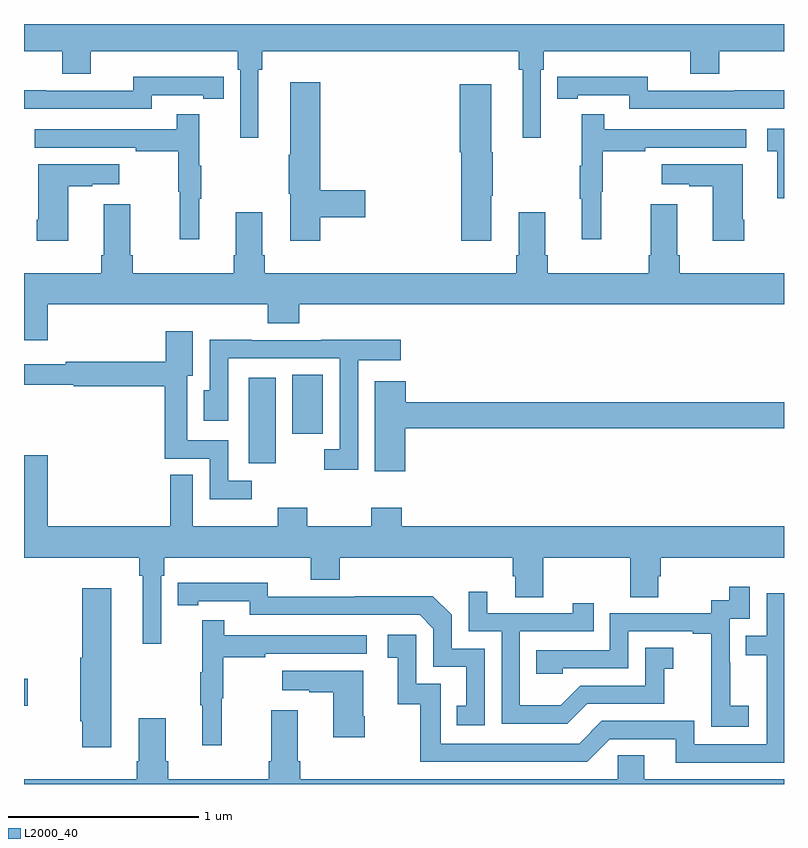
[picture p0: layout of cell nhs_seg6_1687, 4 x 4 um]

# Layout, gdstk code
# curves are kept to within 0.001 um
import gdstk
lib = gdstk.Library(unit=1e-6, precision=1e-09)
def R(c, l, rs):  # rectangles x0, y0, x1, y1
    for r in rs: c.add(gdstk.rectangle(r[:2], r[2:], *l))
def P(c, l, *ps):  # polygons
    for p in ps: c.add(gdstk.Polygon(p, *l))
L2000_40 = (2000, 40)

nhs_seg6_1687 = lib.new_cell('nhs_seg6_1687')
R(nhs_seg6_1687, L2000_40, [(213,923.911,213.019,924.053), (214.184,925.188,214.324,925.639), (214.412,925.344,214.573,925.655)])
P(nhs_seg6_1687, L2000_40, [(214.234,927.26),(214.253,927.26),(214.253,927.356),(215.605,927.356),(215.605,927.26),(215.624,927.26),(215.624,926.901),(215.721,926.901),(215.721,927.26),(215.735,927.26),(215.735,927.356),(216.506,927.356),(216.506,927.239),(216.659,927.239),(216.659,927.356),(217,927.356),(217,927.5),(213,927.5),(213,927.356),(213.2,927.356),(213.2,927.239),(213.352,927.239),(213.352,927.356),(214.124,927.356),(214.124,927.26),(214.137,927.26),(214.137,926.901),(214.234,926.901)],
  [(217,927.152),(216.742,927.152),(216.742,927.15),(216.282,927.15),(216.282,927.223),(215.914,927.223),(215.914,927.222),(215.806,927.222),(215.806,927.106),(215.914,927.106),(215.914,927.126),(216.186,927.126),(216.186,927.054),(217,927.054)],
  [(213.672,927.126),(213.944,927.126),(213.944,927.106),(214.052,927.106),(214.052,927.222),(213.944,927.222),(213.944,927.223),(213.576,927.223),(213.576,927.15),(213.116,927.15),(213.116,927.152),(213,927.152),(213,927.054),(213.672,927.054)],
  [(214.559,926.482),(214.795,926.482),(214.795,926.624),(214.559,926.624),(214.559,927.193),(214.4,927.193),(214.4,926.813),(214.393,926.813),(214.393,926.607),(214.4,926.607),(214.4,926.358),(214.559,926.358)],
  [(215.458,926.596),(215.466,926.596),(215.466,926.826),(215.458,926.826),(215.458,927.184),(215.294,927.184),(215.294,926.826),(215.3,926.826),(215.3,926.358),(215.458,926.358)],
  [(213.923,926.579),(213.934,926.579),(213.934,926.753),(213.923,926.753),(213.923,927.025),(213.805,927.025),(213.805,926.946),(213.057,926.946),(213.057,926.85),(213.589,926.85),(213.589,926.83),(213.813,926.83),(213.813,926.616),(213.82,926.616),(213.82,926.367),(213.923,926.367)],
  [(216.038,926.616),(216.046,926.616),(216.046,926.83),(216.269,926.83),(216.269,926.85),(216.802,926.85),(216.802,926.946),(216.053,926.946),(216.053,927.025),(215.936,927.025),(215.936,926.753),(215.925,926.753),(215.925,926.579),(215.936,926.579),(215.936,926.367),(216.038,926.367)],
  [(217,926.95),(216.912,926.95),(216.912,926.829),(216.965,926.829),(216.965,926.583),(217,926.583)],
  [(213.232,926.647),(213.359,926.647),(213.359,926.657),(213.502,926.657),(213.502,926.761),(213.074,926.761),(213.074,926.47),(213.067,926.47),(213.067,926.358),(213.232,926.358)],
  [(216.792,926.47),(216.784,926.47),(216.784,926.761),(216.357,926.761),(216.357,926.657),(216.5,926.657),(216.5,926.647),(216.626,926.647),(216.626,926.358),(216.792,926.358)],
  [(214.283,925.925),(214.448,925.925),(214.448,926.024),(217,926.024),(217,926.188),(216.452,926.188),(216.452,926.284),(216.439,926.284),(216.439,926.551),(216.299,926.551),(216.299,926.284),(216.287,926.284),(216.287,926.188),(215.756,926.188),(215.756,926.284),(215.743,926.284),(215.743,926.509),(215.603,926.509),(215.603,926.284),(215.591,926.284),(215.591,926.188),(214.268,926.188),(214.268,926.284),(214.255,926.284),(214.255,926.509),(214.115,926.509),(214.115,926.284),(214.103,926.284),(214.103,926.188),(213.572,926.188),(213.572,926.284),(213.559,926.284),(213.559,926.551),(213.419,926.551),(213.419,926.284),(213.407,926.284),(213.407,926.188),(213,926.188),(213,925.836),(213.124,925.836),(213.124,926.024),(214.283,926.024)],
  [(214.198,925.095),(214.074,925.095),(214.074,925.308),(213.859,925.308),(213.859,925.649),(213.889,925.649),(213.889,925.882),(213.746,925.882),(213.746,925.723),(213.22,925.723),(213.22,925.71),(213,925.71),(213,925.602),(213.262,925.602),(213.262,925.594),(213.741,925.594),(213.741,925.212),(213.978,925.212),(213.978,924.998),(214.198,924.998)],
  [(214.758,925.73),(214.984,925.73),(214.984,925.838),(214.565,925.838),(214.565,925.836),(214.199,925.836),(214.199,925.838),(213.978,925.838),(213.978,925.572),(213.947,925.572),(213.947,925.413),(214.074,925.413),(214.074,925.74),(214.662,925.74),(214.662,925.263),(214.581,925.263),(214.581,925.155),(214.758,925.155)],
  [(215.006,925.372),(217,925.372),(217,925.508),(215.008,925.508),(215.008,925.621),(214.847,925.621),(214.847,925.146),(215.006,925.146)],
  [(213.723,924.596),(213.737,924.596),(213.737,924.692),(214.508,924.692),(214.508,924.575),(214.661,924.575),(214.661,924.692),(215.573,924.692),(215.573,924.594),(215.585,924.594),(215.585,924.484),(215.733,924.484),(215.733,924.692),(216.19,924.692),(216.19,924.484),(216.337,924.484),(216.337,924.594),(216.35,924.594),(216.35,924.692),(217,924.692),(217,924.856),(214.988,924.856),(214.988,924.955),(214.828,924.955),(214.828,924.856),(214.491,924.856),(214.491,924.955),(214.336,924.955),(214.336,924.856),(213.889,924.856),(213.889,925.127),(213.771,925.127),(213.771,924.856),(213.124,924.856),(213.124,925.231),(213,925.231),(213,924.692),(213.607,924.692),(213.607,924.596),(213.626,924.596),(213.626,924.237),(213.723,924.237)],
  [(215.424,924.213),(215.25,924.213),(215.25,924.39),(215.152,924.488),(214.744,924.488),(214.744,924.486),(214.284,924.486),(214.284,924.559),(213.808,924.558),(213.808,924.442),(213.916,924.442),(213.916,924.462),(214.188,924.462),(214.188,924.39),(215.082,924.39),(215.154,924.318),(215.154,924.117),(215.327,924.117),(215.327,923.913),(215.278,923.913),(215.278,923.808),(215.424,923.808)],
  [(216.814,923.911),(216.716,923.911),(216.716,924.14),(216.714,924.14),(216.714,924.369),(216.819,924.369),(216.819,924.538),(216.711,924.538),(216.711,924.468),(216.618,924.468),(216.618,924.399),(216.084,924.399),(216.084,924.204),(215.695,924.204),(215.695,924.081),(215.835,924.081),(215.835,924.108),(216.18,924.108),(216.18,924.303),(216.521,924.303),(216.521,924.291),(216.617,924.291),(216.617,924.007),(216.616,924.007),(216.616,923.801),(216.814,923.801)],
  [(213.46,924.529),(213.307,924.529),(213.307,924.165),(213.296,924.165),(213.296,923.829),(213.307,923.829),(213.307,923.694),(213.46,923.694)],
  [(215.965,923.922),(216.369,923.922),(216.369,924.107),(216.418,924.107),(216.418,924.217),(216.27,924.217),(216.27,924.018),(215.928,924.018),(215.824,923.914),(215.61,923.914),(215.61,924.303),(215.999,924.303),(215.999,924.451),(215.888,924.451),(215.888,924.399),(215.437,924.399),(215.437,924.511),(215.34,924.511),(215.34,924.303),(215.514,924.303),(215.514,923.817),(215.86,923.817)],
  [(217,924.504),(216.909,924.504),(216.909,924.279),(216.799,924.279),(216.799,924.178),(216.909,924.178),(216.909,923.709),(216.528,923.709),(216.528,923.832),(216.042,923.832),(215.922,923.712),(215.193,923.712),(215.193,924.027),(215.064,924.027),(215.064,924.286),(214.914,924.286),(214.914,924.165),(214.967,924.165),(214.967,923.919),(215.085,923.919),(215.085,923.616),(215.964,923.616),(216.084,923.736),(216.431,923.736),(216.431,923.613),(217,923.613)],
  [(214.04,923.952),(214.048,923.952),(214.048,924.166),(214.271,924.166),(214.271,924.186),(214.804,924.186),(214.804,924.282),(214.055,924.282),(214.055,924.361),(213.938,924.361),(213.938,924.089),(213.927,924.089),(213.927,923.915),(213.938,923.915),(213.938,923.703),(214.04,923.703)],
  [(214.794,923.857),(214.786,923.857),(214.786,924.097),(214.359,924.097),(214.359,923.993),(214.502,923.993),(214.502,923.983),(214.628,923.983),(214.628,923.745),(214.794,923.745)],
  [(217,923.524),(216.265,923.524),(216.265,923.651),(216.126,923.651),(216.126,923.524),(214.454,923.524),(214.454,923.62),(214.441,923.62),(214.441,923.887),(214.301,923.887),(214.301,923.62),(214.289,923.62),(214.289,923.524),(213.758,923.524),(213.758,923.62),(213.745,923.62),(213.745,923.845),(213.605,923.845),(213.605,923.62),(213.593,923.62),(213.593,923.524),(213,923.524),(213,923.5),(217,923.5)])

lib.write_gds('nhs_seg6_1687.gds')
